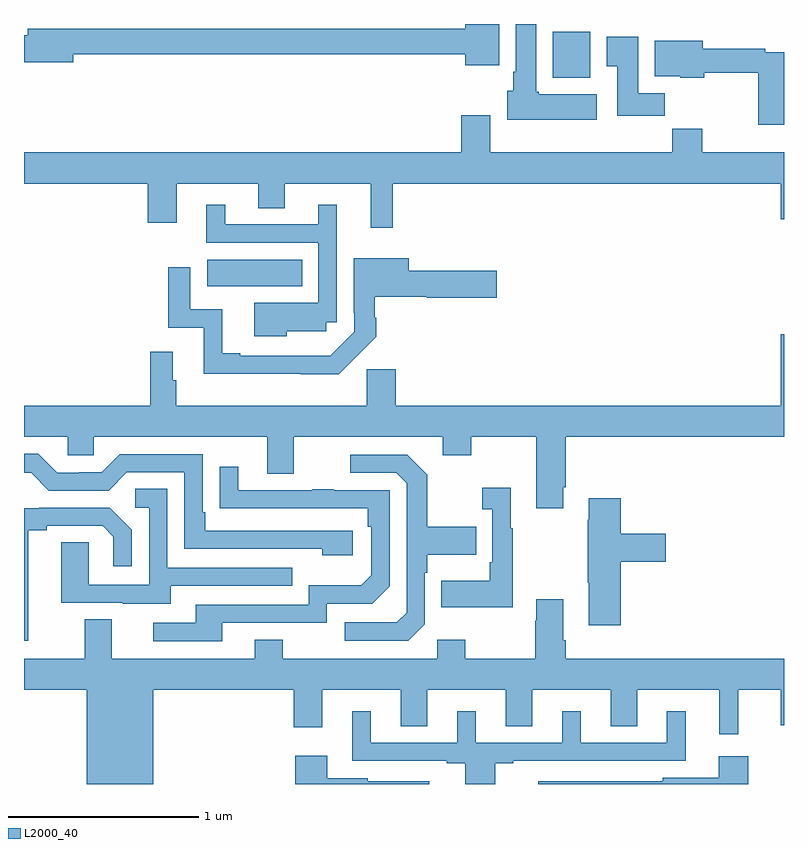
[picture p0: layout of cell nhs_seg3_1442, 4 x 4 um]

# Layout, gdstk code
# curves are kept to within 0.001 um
import gdstk
lib = gdstk.Library(unit=1e-6, precision=1e-09)
def R(c, l, rs):  # rectangles x0, y0, x1, y1
    for r in rs: c.add(gdstk.rectangle(r[:2], r[2:], *l))
def P(c, l, *ps):  # polygons
    for p in ps: c.add(gdstk.Polygon(p, *l))
L2000_40 = (2000, 40)

nhs_seg3_1442 = lib.new_cell('nhs_seg3_1442')
R(nhs_seg3_1442, L2000_40, [(185.964,723.02,186.464,723.16), (187.784,724.118,187.981,724.36)])
P(nhs_seg3_1442, L2000_40, [(188.014,724.03),(187.71,724.03),(187.71,724.044),(187.696,724.044),(187.696,724.4),(187.589,724.4),(187.589,724.15),(187.574,724.15),(187.574,724.05),(187.544,724.05),(187.544,723.896),(188.014,723.896)],
  [(187.501,724.4),(187.322,724.4),(187.322,724.376),(185.021,724.376),(185.021,724.34),(185,724.34),(185,724.198),(185.26,724.198),(185.26,724.24),(187.322,724.24),(187.322,724.184),(187.501,724.184)],
  [(188.372,724.036),(188.233,724.036),(188.233,724.333),(188.066,724.333),(188.066,724.177),(188.123,724.177),(188.123,723.918),(188.372,723.918)],
  [(189,724.251),(188.9,724.251),(188.9,724.271),(188.572,724.271),(188.572,724.312),(188.321,724.312),(188.321,724.124),(188.454,724.124),(188.454,724.118),(188.58,724.118),(188.58,724.143),(188.864,724.143),(188.864,723.87),(189,723.87)],
  [(185,723.56),(185.651,723.56),(185.651,723.354),(185.803,723.354),(185.803,723.56),(186.233,723.56),(186.233,723.43),(186.373,723.43),(186.373,723.56),(186.824,723.56),(186.824,723.327),(186.941,723.327),(186.941,723.56),(188.984,723.56),(188.984,723.372),(189,723.372),(189,723.724),(188.57,723.724),(188.57,723.848),(188.413,723.848),(188.413,723.724),(187.453,723.724),(187.453,723.919),(187.301,723.919),(187.301,723.724),(185,723.724)],
  [(186.384,722.783),(186.591,722.783),(186.591,722.829),(186.645,722.829),(186.645,723.448),(186.548,723.448),(186.548,723.345),(186.058,723.345),(186.058,723.448),(185.96,723.448),(185.96,723.249),(186.549,723.249),(186.549,722.932),(186.212,722.932),(186.212,722.756),(186.384,722.756)],
  [(186.854,722.753),(186.854,722.855),(186.847,722.855),(186.847,722.965),(187.12,722.965),(187.12,722.96),(187.489,722.96),(187.489,723.102),(187.024,723.102),(187.024,723.166),(186.735,723.166),(186.735,722.881),(186.738,722.881),(186.738,722.781),(186.611,722.654),(186.139,722.655),(186.139,722.668),(186.043,722.668),(186.043,722.898),(185.874,722.898),(185.874,723.121),(185.758,723.121),(185.758,722.802),(185.945,722.802),(185.945,722.558),(186.457,722.558),(186.457,722.556),(186.656,722.556)],
  [(187.837,721.963),(187.85,721.963),(187.85,722.228),(189,722.228),(189,722.767),(188.984,722.767),(188.984,722.392),(186.956,722.392),(186.956,722.583),(186.805,722.583),(186.805,722.392),(185.801,722.392),(185.801,722.525),(185.782,722.525),(185.782,722.674),(185.665,722.674),(185.665,722.392),(185,722.392),(185,722.228),(185.229,722.228),(185.229,722.13),(185.367,722.13),(185.367,722.228),(186.281,722.228),(186.281,722.034),(186.421,722.034),(186.421,722.228),(187.205,722.228),(187.205,722.129),(187.353,722.129),(187.353,722.228),(187.697,722.228),(187.697,721.851),(187.837,721.851)],
  [(186.73,721.734),(185.953,721.734),(185.953,721.831),(185.94,721.831),(185.94,722.136),(185.505,722.136),(185.409,722.04),(185.291,722.04),(185.291,722.037),(185.175,722.037),(185.075,722.137),(185,722.137),(185,722.037),(185.037,722.037),(185.13,721.944),(185.445,721.944),(185.541,722.04),(185.844,722.04),(185.844,721.638),(186.569,721.638),(186.569,721.604),(186.73,721.604)],
  [(187.11,721.242),(187.11,721.511),(187.123,721.511),(187.123,721.607),(187.379,721.607),(187.379,721.755),(187.123,721.755),(187.123,722.027),(187.017,722.133),(186.717,722.133),(186.717,722.037),(186.96,722.037),(187.014,721.983),(187.014,721.302),(186.963,721.251),(186.687,721.251),(186.687,721.155),(187.023,721.155)],
  [(186.043,721.248),(186.594,721.248),(186.594,721.35),(186.834,721.35),(186.924,721.44),(186.924,721.947),(186.629,721.947),(186.629,721.952),(186.517,721.952),(186.517,721.947),(186.127,721.947),(186.127,722.071),(186.031,722.071),(186.031,721.852),(186.808,721.851),(186.808,721.754),(186.828,721.754),(186.828,721.5),(186.775,721.447),(186.498,721.447),(186.498,721.344),(185.903,721.344),(185.903,721.248),(185.679,721.248),(185.679,721.152),(186.043,721.152)],
  [(187.573,721.747),(187.561,721.747),(187.561,721.96),(187.413,721.96),(187.413,721.847),(187.464,721.847),(187.464,721.567),(187.452,721.567),(187.452,721.471),(187.195,721.471),(187.195,721.331),(187.573,721.331)],
  [(185.773,721.443),(186.413,721.443),(186.413,721.539),(185.754,721.539),(185.754,721.955),(185.586,721.955),(185.586,721.854),(185.658,721.854),(185.658,721.449),(185.34,721.449),(185.34,721.673),(185.195,721.673),(185.195,721.353),(185.519,721.353),(185.519,721.349),(185.773,721.349)],
  [(188.141,721.571),(188.377,721.571),(188.377,721.718),(188.141,721.718),(188.141,721.903),(187.973,721.903),(187.973,721.79),(187.966,721.79),(187.966,721.459),(187.973,721.459),(187.973,721.236),(188.141,721.236)],
  [(185.023,721.736),(185.119,721.736),(185.119,721.758),(185.414,721.758),(185.471,721.701),(185.471,721.545),(185.568,721.545),(185.568,721.738),(185.452,721.854),(185.08,721.854),(185.08,721.851),(185,721.851),(185,721.155),(185.023,721.155)],
  [(185.68,720.896),(186.419,720.896),(186.419,720.699),(186.571,720.699),(186.571,720.896),(186.983,720.896),(186.983,720.703),(187.123,720.703),(187.123,720.896),(187.535,720.896),(187.535,720.703),(187.675,720.703),(187.675,720.896),(188.087,720.896),(188.087,720.703),(188.227,720.703),(188.227,720.896),(188.66,720.896),(188.66,720.663),(188.76,720.663),(188.76,720.896),(188.984,720.896),(188.984,720.708),(189,720.708),(189,721.06),(187.85,721.06),(187.85,721.156),(187.837,721.156),(187.837,721.372),(187.697,721.372),(187.697,721.259),(187.69,721.259),(187.69,721.06),(187.323,721.06),(187.323,721.159),(187.176,721.159),(187.176,721.06),(186.363,721.06),(186.363,721.159),(186.215,721.159),(186.215,721.06),(185.461,721.06),(185.461,721.268),(185.321,721.268),(185.321,721.06),(185,721.06),(185,720.896),(185.33,720.896),(185.33,720.4),(185.68,720.4)],
  [(187.48,720.51),(187.576,720.51),(187.576,720.522),(188.483,720.522),(188.483,720.784),(188.384,720.784),(188.384,720.618),(187.93,720.618),(187.93,720.784),(187.832,720.784),(187.832,720.618),(187.378,720.618),(187.378,720.784),(187.28,720.784),(187.28,720.618),(186.826,720.618),(186.826,720.784),(186.728,720.784),(186.728,720.522),(187.226,720.522),(187.226,720.51),(187.322,720.51),(187.322,720.4),(187.48,720.4)],
  [(187.132,720.415),(186.81,720.415),(186.81,720.43),(186.595,720.43),(186.595,720.55),(186.428,720.55),(186.428,720.4),(187.132,720.4)],
  [(188.813,720.547),(188.657,720.547),(188.657,720.433),(188.361,720.433),(188.361,720.414),(187.707,720.414),(187.707,720.4),(188.813,720.4)])

lib.write_gds('nhs_seg3_1442.gds')
